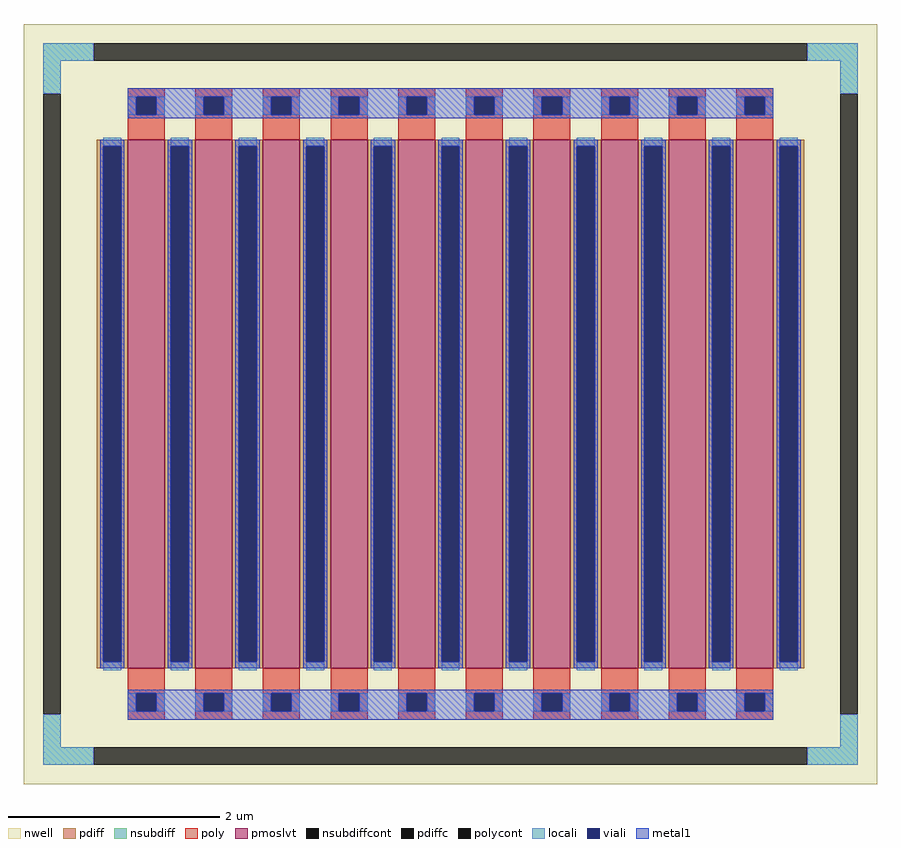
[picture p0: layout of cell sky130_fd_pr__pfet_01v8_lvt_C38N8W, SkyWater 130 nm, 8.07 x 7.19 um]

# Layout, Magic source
magic
tech sky130A
magscale 1 2
<< nwell >>
rect -807 -719 807 719
<< pmoslvt >>
rect -611 -500 -541 500
rect -483 -500 -413 500
rect -355 -500 -285 500
rect -227 -500 -157 500
rect -99 -500 -29 500
rect 29 -500 99 500
rect 157 -500 227 500
rect 285 -500 355 500
rect 413 -500 483 500
rect 541 -500 611 500
<< pdiff >>
rect -669 488 -611 500
rect -669 -488 -657 488
rect -623 -488 -611 488
rect -669 -500 -611 -488
rect -541 488 -483 500
rect -541 -488 -529 488
rect -495 -488 -483 488
rect -541 -500 -483 -488
rect -413 488 -355 500
rect -413 -488 -401 488
rect -367 -488 -355 488
rect -413 -500 -355 -488
rect -285 488 -227 500
rect -285 -488 -273 488
rect -239 -488 -227 488
rect -285 -500 -227 -488
rect -157 488 -99 500
rect -157 -488 -145 488
rect -111 -488 -99 488
rect -157 -500 -99 -488
rect -29 488 29 500
rect -29 -488 -17 488
rect 17 -488 29 488
rect -29 -500 29 -488
rect 99 488 157 500
rect 99 -488 111 488
rect 145 -488 157 488
rect 99 -500 157 -488
rect 227 488 285 500
rect 227 -488 239 488
rect 273 -488 285 488
rect 227 -500 285 -488
rect 355 488 413 500
rect 355 -488 367 488
rect 401 -488 413 488
rect 355 -500 413 -488
rect 483 488 541 500
rect 483 -488 495 488
rect 529 -488 541 488
rect 483 -500 541 -488
rect 611 488 669 500
rect 611 -488 623 488
rect 657 -488 669 488
rect 611 -500 669 -488
<< pdiffc >>
rect -657 -488 -623 488
rect -529 -488 -495 488
rect -401 -488 -367 488
rect -273 -488 -239 488
rect -145 -488 -111 488
rect -17 -488 17 488
rect 111 -488 145 488
rect 239 -488 273 488
rect 367 -488 401 488
rect 495 -488 529 488
rect 623 -488 657 488
<< nsubdiff >>
rect -771 649 -675 683
rect 675 649 771 683
rect -771 587 -737 649
rect 737 587 771 649
rect -771 -649 -737 -587
rect 737 -649 771 -587
rect -771 -683 -675 -649
rect 675 -683 771 -649
<< nsubdiffcont >>
rect -675 649 675 683
rect -771 -587 -737 587
rect 737 -587 771 587
rect -675 -683 675 -649
<< poly >>
rect -611 581 -541 597
rect -611 547 -595 581
rect -557 547 -541 581
rect -611 500 -541 547
rect -483 581 -413 597
rect -483 547 -467 581
rect -429 547 -413 581
rect -483 500 -413 547
rect -355 581 -285 597
rect -355 547 -339 581
rect -301 547 -285 581
rect -355 500 -285 547
rect -227 581 -157 597
rect -227 547 -211 581
rect -173 547 -157 581
rect -227 500 -157 547
rect -99 581 -29 597
rect -99 547 -83 581
rect -45 547 -29 581
rect -99 500 -29 547
rect 29 581 99 597
rect 29 547 45 581
rect 83 547 99 581
rect 29 500 99 547
rect 157 581 227 597
rect 157 547 173 581
rect 211 547 227 581
rect 157 500 227 547
rect 285 581 355 597
rect 285 547 301 581
rect 339 547 355 581
rect 285 500 355 547
rect 413 581 483 597
rect 413 547 429 581
rect 467 547 483 581
rect 413 500 483 547
rect 541 581 611 597
rect 541 547 557 581
rect 595 547 611 581
rect 541 500 611 547
rect -611 -547 -541 -500
rect -611 -581 -595 -547
rect -557 -581 -541 -547
rect -611 -597 -541 -581
rect -483 -547 -413 -500
rect -483 -581 -467 -547
rect -429 -581 -413 -547
rect -483 -597 -413 -581
rect -355 -547 -285 -500
rect -355 -581 -339 -547
rect -301 -581 -285 -547
rect -355 -597 -285 -581
rect -227 -547 -157 -500
rect -227 -581 -211 -547
rect -173 -581 -157 -547
rect -227 -597 -157 -581
rect -99 -547 -29 -500
rect -99 -581 -83 -547
rect -45 -581 -29 -547
rect -99 -597 -29 -581
rect 29 -547 99 -500
rect 29 -581 45 -547
rect 83 -581 99 -547
rect 29 -597 99 -581
rect 157 -547 227 -500
rect 157 -581 173 -547
rect 211 -581 227 -547
rect 157 -597 227 -581
rect 285 -547 355 -500
rect 285 -581 301 -547
rect 339 -581 355 -547
rect 285 -597 355 -581
rect 413 -547 483 -500
rect 413 -581 429 -547
rect 467 -581 483 -547
rect 413 -597 483 -581
rect 541 -547 611 -500
rect 541 -581 557 -547
rect 595 -581 611 -547
rect 541 -597 611 -581
<< polycont >>
rect -595 547 -557 581
rect -467 547 -429 581
rect -339 547 -301 581
rect -211 547 -173 581
rect -83 547 -45 581
rect 45 547 83 581
rect 173 547 211 581
rect 301 547 339 581
rect 429 547 467 581
rect 557 547 595 581
rect -595 -581 -557 -547
rect -467 -581 -429 -547
rect -339 -581 -301 -547
rect -211 -581 -173 -547
rect -83 -581 -45 -547
rect 45 -581 83 -547
rect 173 -581 211 -547
rect 301 -581 339 -547
rect 429 -581 467 -547
rect 557 -581 595 -547
<< locali >>
rect -771 649 -675 683
rect 675 649 771 683
rect -771 587 -737 649
rect 737 587 771 649
rect -611 547 -595 581
rect -557 547 -541 581
rect -483 547 -467 581
rect -429 547 -413 581
rect -355 547 -339 581
rect -301 547 -285 581
rect -227 547 -211 581
rect -173 547 -157 581
rect -99 547 -83 581
rect -45 547 -29 581
rect 29 547 45 581
rect 83 547 99 581
rect 157 547 173 581
rect 211 547 227 581
rect 285 547 301 581
rect 339 547 355 581
rect 413 547 429 581
rect 467 547 483 581
rect 541 547 557 581
rect 595 547 611 581
rect -657 488 -623 504
rect -657 -504 -623 -488
rect -529 488 -495 504
rect -529 -504 -495 -488
rect -401 488 -367 504
rect -401 -504 -367 -488
rect -273 488 -239 504
rect -273 -504 -239 -488
rect -145 488 -111 504
rect -145 -504 -111 -488
rect -17 488 17 504
rect -17 -504 17 -488
rect 111 488 145 504
rect 111 -504 145 -488
rect 239 488 273 504
rect 239 -504 273 -488
rect 367 488 401 504
rect 367 -504 401 -488
rect 495 488 529 504
rect 495 -504 529 -488
rect 623 488 657 504
rect 623 -504 657 -488
rect -611 -581 -595 -547
rect -557 -581 -541 -547
rect -483 -581 -467 -547
rect -429 -581 -413 -547
rect -355 -581 -339 -547
rect -301 -581 -285 -547
rect -227 -581 -211 -547
rect -173 -581 -157 -547
rect -99 -581 -83 -547
rect -45 -581 -29 -547
rect 29 -581 45 -547
rect 83 -581 99 -547
rect 157 -581 173 -547
rect 211 -581 227 -547
rect 285 -581 301 -547
rect 339 -581 355 -547
rect 413 -581 429 -547
rect 467 -581 483 -547
rect 541 -581 557 -547
rect 595 -581 611 -547
rect -771 -649 -737 -587
rect 737 -649 771 -587
rect -771 -683 -675 -649
rect 675 -683 771 -649
<< viali >>
rect -595 547 -557 581
rect -467 547 -429 581
rect -339 547 -301 581
rect -211 547 -173 581
rect -83 547 -45 581
rect 45 547 83 581
rect 173 547 211 581
rect 301 547 339 581
rect 429 547 467 581
rect 557 547 595 581
rect -657 -488 -623 488
rect -529 -488 -495 488
rect -401 -488 -367 488
rect -273 -488 -239 488
rect -145 -488 -111 488
rect -17 -488 17 488
rect 111 -488 145 488
rect 239 -488 273 488
rect 367 -488 401 488
rect 495 -488 529 488
rect 623 -488 657 488
rect -595 -581 -557 -547
rect -467 -581 -429 -547
rect -339 -581 -301 -547
rect -211 -581 -173 -547
rect -83 -581 -45 -547
rect 45 -581 83 -547
rect 173 -581 211 -547
rect 301 -581 339 -547
rect 429 -581 467 -547
rect 557 -581 595 -547
<< metal1 >>
rect -611 581 611 597
rect -611 547 -595 581
rect -557 547 -467 581
rect -429 547 -339 581
rect -301 547 -211 581
rect -173 547 -83 581
rect -45 547 45 581
rect 83 547 173 581
rect 211 547 301 581
rect 339 547 429 581
rect 467 547 557 581
rect 595 547 611 581
rect -611 541 611 547
rect -663 488 -617 500
rect -663 -488 -657 488
rect -623 -488 -617 488
rect -663 -500 -617 -488
rect -535 488 -489 500
rect -535 -488 -529 488
rect -495 -488 -489 488
rect -535 -500 -489 -488
rect -407 488 -361 500
rect -407 -488 -401 488
rect -367 -488 -361 488
rect -407 -500 -361 -488
rect -279 488 -233 500
rect -279 -488 -273 488
rect -239 -488 -233 488
rect -279 -500 -233 -488
rect -151 488 -105 500
rect -151 -488 -145 488
rect -111 -488 -105 488
rect -151 -500 -105 -488
rect -23 488 23 500
rect -23 -488 -17 488
rect 17 -488 23 488
rect -23 -500 23 -488
rect 105 488 151 500
rect 105 -488 111 488
rect 145 -488 151 488
rect 105 -500 151 -488
rect 233 488 279 500
rect 233 -488 239 488
rect 273 -488 279 488
rect 233 -500 279 -488
rect 361 488 407 500
rect 361 -488 367 488
rect 401 -488 407 488
rect 361 -500 407 -488
rect 489 488 535 500
rect 489 -488 495 488
rect 529 -488 535 488
rect 489 -500 535 -488
rect 617 488 663 500
rect 617 -488 623 488
rect 657 -488 663 488
rect 617 -500 663 -488
rect -611 -547 611 -541
rect -611 -581 -595 -547
rect -557 -581 -467 -547
rect -429 -581 -339 -547
rect -301 -581 -211 -547
rect -173 -581 -83 -547
rect -45 -581 45 -547
rect 83 -581 173 -547
rect 211 -581 301 -547
rect 339 -581 429 -547
rect 467 -581 557 -547
rect 595 -581 611 -547
rect -611 -597 611 -581
<< properties >>
string FIXED_BBOX -754 -666 754 666
string gencell sky130_fd_pr__pfet_01v8_lvt
string library sky130
string parameters w 5 l 0.35 m 1 nf 10 diffcov 100 polycov 100 guard 1 glc 1 grc 1 gtc 1 gbc 1 tbcov 100 rlcov 100 topc 1 botc 1 poverlap 1 doverlap 1 lmin 0.35 wmin 0.42 compatible {sky130_fd_pr__pfet_01v8  sky130_fd_pr__pfet_01v8_lvt sky130_fd_pr__pfet_01v8_hvt  sky130_fd_pr__pfet_g5v0d10v5} full_metal 1 viasrc 100 viadrn 100 viagate 100 viagb 0 viagr 0 viagl 0 viagt 0
<< end >>
